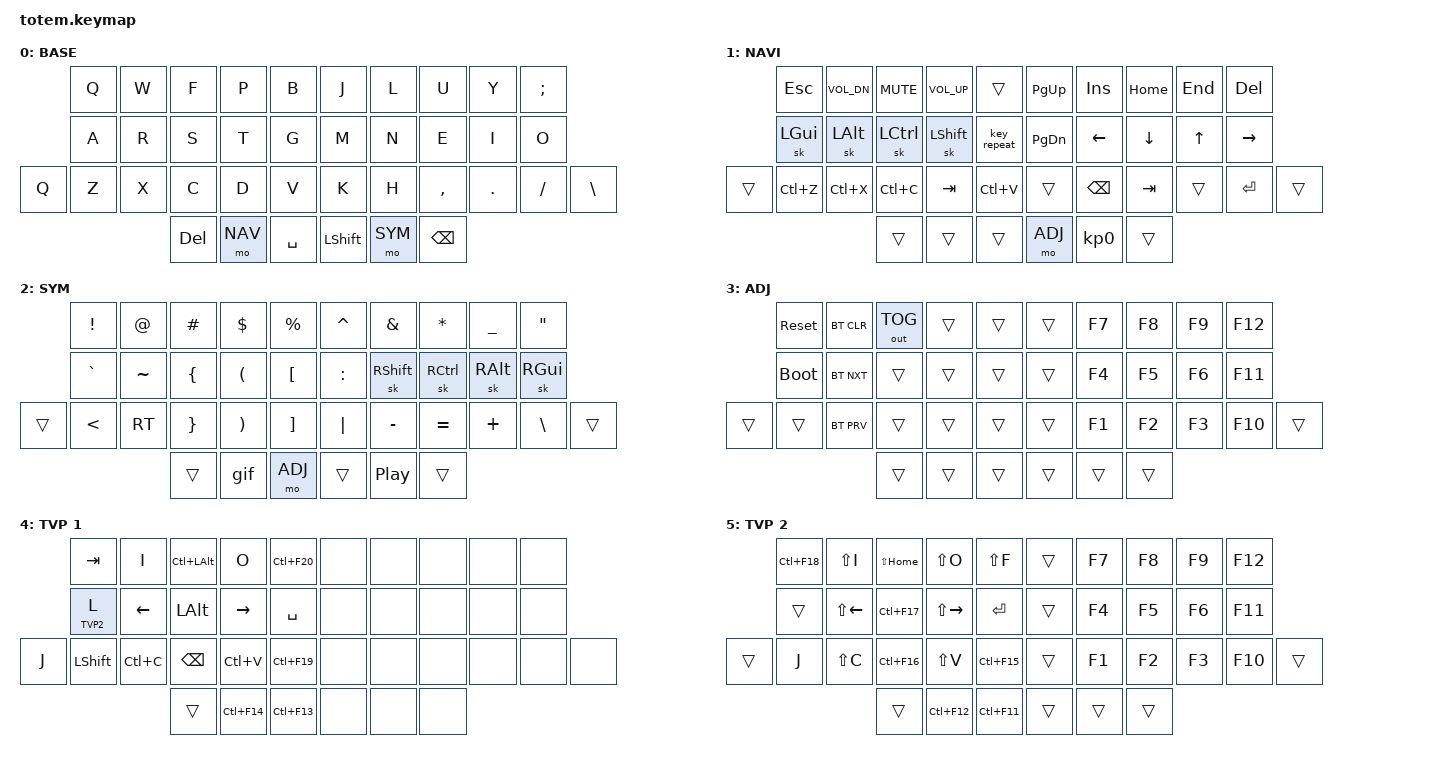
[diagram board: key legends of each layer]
//
//                                                        ▀▀▀▀▀     ▀▀▀▀▀          ▀▀█▀▀
//                                                        ▄▀▀▀▄  ▄  ▄▀▀▀▄  ▄  ▄▀▀▀▄  █  ▄▀▀▀▄
//                                                        █   █  █  █   █  █  █   █  █  █   █
//                                                         ▀▀▀   █   ▀▀▀   █   ▀▀▀   ▀   ▀▀▀
//                                                               █      ▄▄▄█▄▄▄    █   █  
//                                                               ▀      █  █  █     █▄█
//                                                             ▀▀▀▀▀    █  █  █      ▀
//                                                                      ▀  ▀  ▀
//
// ▄▄▄▄▄▄▄▄▄▄▄▄▄▄▄▄▄▄▄▄▄▄▄▄▄▄▄▄▄▄▄▄▄▄▄▄▄▄▄▄▄▄▄▄▄▄▄▄▄▄▄▄▄▄▄▄▄▄▄▄▄▄▄▄▄▄▄▄▄▄▄▄▄▄▄▄▄▄▄▄▄▄▄▄▄▄▄▄▄▄▄▄▄▄▄▄▄▄▄▄▄▄▄▄▄▄▄▄▄▄▄▄▄▄▄▄▄▄▄▄▄▄▄▄▄▄▄▄▄▄▄▄▄▄▄▄▄▄▄▄▄▄▄▄▄▄▄▄▄
       

#include <behaviors.dtsi>
#include <dt-bindings/zmk/keys.h>
#include <dt-bindings/zmk/bt.h>
#include <dt-bindings/zmk/outputs.h>

#define BASE 0
#define NAV  1
#define SYM  2
#define ADJ  3
#define TVP1 4
#define TVP2 5

&mt {
  global-quick-tap;
  flavor = "tap-preferred";
  tapping-term-ms = <190>;
};

&sk {
  quick-release;
};

/ {
     combos {
            compatible = "zmk,combos";
            combo_esc {
                timeout-ms = <50>;
                key-positions = <0 1>;
                bindings = <&kp ESC>;
            };
            combo_tvp {
                timeout-ms = <100>;
                key-positions = <11 12 13>;
                bindings = <&tog TVP1>;
            };
    };

    macros {
        gif: gif {
            label = "giphy";
            compatible = "zmk,behavior-macro";
            #binding-cells = <0>;
            bindings
                = <&macro_press &kp LSHFT>
                , <&macro_tap &kp N2>
                , <&macro_release &kp LSHFT>
                , <&macro_tap &kp G &kp I &kp F>
                ;
        };
    };

        keymap {
                compatible = "zmk,keymap";
// ▄▄▄▄▄▄▄▄▄▄▄▄▄▄▄▄▄▄▄▄▄▄▄▄▄▄▄▄▄▄▄▄▄▄▄▄▄▄▄▄▄▄▄▄▄▄▄▄▄▄▄▄▄▄▄▄▄▄▄▄▄▄▄▄▄▄▄▄▄▄▄▄▄▄▄▄▄▄▄▄▄▄▄▄▄▄▄▄▄▄▄▄▄▄▄▄▄▄▄▄▄▄▄▄▄▄▄▄▄▄▄▄▄▄▄▄▄▄▄▄▄▄▄▄▄▄▄▄▄▄▄▄▄▄▄▄▄▄▄▄▄▄▄▄▄▄▄▄▄

                base_layer {
// ┏━━━━━━━━━━━━━━━━━━━━━━━━━━━━━━━━━━━━━━━┓
label= "BASE"                              ;
// ┗━━━━━━━━━━━━━━━━━━━━━━━━━━━━━━━━━━━━━━━┛
//             ┏━━━━━━━━━━━┳━━━━━━━━━━━┳━━━━━━━━━━━┳━━━━━━━━━━━┳━━━━━━━━━━━┓   ┏━━━━━━━━━━━┳━━━━━━━━━━━┳━━━━━━━━━━━┳━━━━━━━━━━━┳━━━━━━━━━━━┓
//             ┃     Q     ┃     W     ┃     F     ┃     P     ┃     B     ┃   ┃     J     ┃     L     ┃     U     ┃     Y     ┃     ;     ┃
//             ┣━━━━━━━━━━━╋━━━━━━━━━━━╋━━━━━━━━━━━╋━━━━━━━━━━━╋━━━━━━━━━━━┫   ┣━━━━━━━━━━━╋━━━━━━━━━━━╋━━━━━━━━━━━╋━━━━━━━━━━━╋━━━━━━━━━━━┫
//             ┃     A     ┃     R     ┃     S     ┃     T     ┃     G     ┃   ┃     M     ┃     N     ┃     E     ┃     I     ┃     O     ┃
// ┏━━━━━━━━━━━╋━━━━━━━━━━━╋━━━━━━━━━━━╋━━━━━━━━━━━╋━━━━━━━━━━━╋━━━━━━━━━━━┫   ┣━━━━━━━━━━━╋━━━━━━━━━━━╋━━━━━━━━━━━╋━━━━━━━━━━━╋━━━━━━━━━━━╋━━━━━━━━━━━┓
// ┃     Q     ┃     Z     ┃     X     ┃     C     ┃     D     ┃     V     ┃   ┃     K     ┃     H     ┃     ,     ┃     .     ┃     /     ┃     \     ┃
// ┗━━━━━━━━━━━┻━━━━━━━━━━━┻━━━━━━━━━━━╋━━━━━━━━━━━╋━━━━━━━━━━━╋━━━━━━━━━━━┫   ┣━━━━━━━━━━━╋━━━━━━━━━━━╋━━━━━━━━━━━╋━━━━━━━━━━━┻━━━━━━━━━━━┻━━━━━━━━━━━┛
//                                     ┃    DEL    ┃    TAB    ┃    SPC    ┃   ┃   ENTER   ┃           ┃   BSPC    ┃
//                                     ┗━━━━━━━━━━━┻━━━━━━━━━━━┻━━━━━━━━━━━┛   ┗━━━━━━━━━━━┻━━━━━━━━━━━┻━━━━━━━━━━━┛
 bindings = <
// ╷           ╷           ╷           ╷           ╷           ╷           ╷   ╷           ╷           ╷           ╷           ╷           ╷           ╷

                &kp Q       &kp W       &kp F       &kp P       &kp B           &kp J       &kp L       &kp U       &kp Y       &kp SEMI
                &kp A       &kp R       &kp S       &kp T       &kp G           &kp M       &kp N       &kp E       &kp I       &kp O
    &kp Q       &kp Z       &kp X       &kp C       &kp D       &kp V           &kp K       &kp H       &kp COMMA   &kp DOT     &kp FSLH    &kp BSLH
                                        &kp DEL     &mo NAV     &kp SPACE       &kp LSHFT   &mo SYM     &kp BSPC
                        >;
                };

// ▄▄▄▄▄▄▄▄▄▄▄▄▄▄▄▄▄▄▄▄▄▄▄▄▄▄▄▄▄▄▄▄▄▄▄▄▄▄▄▄▄▄▄▄▄▄▄▄▄▄▄▄▄▄▄▄▄▄▄▄▄▄▄▄▄▄▄▄▄▄▄▄▄▄▄▄▄▄▄▄▄▄▄▄▄▄▄▄▄▄▄▄▄▄▄▄▄▄▄▄▄▄▄▄▄▄▄▄▄▄▄▄▄▄▄▄▄▄▄▄▄▄▄▄▄▄▄▄▄▄▄▄▄▄▄▄▄▄▄▄▄▄▄▄▄▄▄▄▄


                nav_layer {
// ┏━━━━━━━━━━━━━━━━━━━━━━━━━━━━━━━━━━━━━━━┓
label= "NAVI"                              ;
// ┗━━━━━━━━━━━━━━━━━━━━━━━━━━━━━━━━━━━━━━━┛
//             ┏━━━━━━━━━━━┳━━━━━━━━━━━┳━━━━━━━━━━━┳━━━━━━━━━━━┳━━━━━━━━━━━┓   ┏━━━━━━━━━━━┳━━━━━━━━━━━┳━━━━━━━━━━━┳━━━━━━━━━━━┳━━━━━━━━━━━┓
//             ┃   ESC     ┃ C_VOL_DN  ┃  C_MUTE   ┃ C_VOL_UP  ┃           ┃   ┃   PG_UP   ┃    INS    ┃   HOME    ┃    END    ┃    DEL    ┃
//             ┣━━━━━━━━━━━╋━━━━━━━━━━━╋━━━━━━━━━━━╋━━━━━━━━━━━╋━━━━━━━━━━━┫   ┣━━━━━━━━━━━╋━━━━━━━━━━━╋━━━━━━━━━━━╋━━━━━━━━━━━╋━━━━━━━━━━━┫
//             ┃   LGUI    ┃   LALT    ┃   LCTL    ┃   LSHFT   ┃  REPEAT   ┃   ┃   PG_DN   ┃   LEFT    ┃   DOWN    ┃    UP     ┃  RIGHT    ┃
// ┏━━━━━━━━━━━╋━━━━━━━━━━━╋━━━━━━━━━━━╋━━━━━━━━━━━╋━━━━━━━━━━━╋━━━━━━━━━━━┫   ┣━━━━━━━━━━━╋━━━━━━━━━━━╋━━━━━━━━━━━╋━━━━━━━━━━━╋━━━━━━━━━━━╋━━━━━━━━━━━┓
// ┃           ┃   UNDO    ┃   CUT     ┃   COPY    ┃   TAB     ┃  PASTE    ┃   ┃           ┃   BSPC    ┃   TAB     ┃           ┃    RET    ┃           ┃
// ┗━━━━━━━━━━━┻━━━━━━━━━━━┻━━━━━━━━━━━╋━━━━━━━━━━━╋━━━━━━━━━━━╋━━━━━━━━━━━┫   ┣━━━━━━━━━━━╋━━━━━━━━━━━╋━━━━━━━━━━━╋━━━━━━━━━━━┻━━━━━━━━━━━┻━━━━━━━━━━━┛
//                                     ┃           ┃    TAB    ┃    SPC    ┃   ┃    DEL    ┃     0     ┃           ┃
//                                     ┗━━━━━━━━━━━┻━━━━━━━━━━━┻━━━━━━━━━━━┛   ┗━━━━━━━━━━━┻━━━━━━━━━━━┻━━━━━━━━━━━┛
 bindings = <
// ╷           ╷            ╷            ╷           ╷            ╷          ╷    ╷           ╷           ╷           ╷           ╷           ╷           ╷

                &kp ESC     &kp C_VOL_DN &kp C_MUTE  &kp C_VOL_UP &trans          &kp PG_UP   &kp INS     &kp HOME    &kp END     &kp DEL
                &sk LGUI    &sk LALT     &sk LCTL    &sk LSHFT    &key_repeat     &kp PG_DN   &kp LEFT    &kp DOWN    &kp UP      &kp RIGHT
    &trans      &kp LC(Z)   &kp LC(X)    &kp LC(C)   &kp TAB      &kp LC(V)       &trans      &kp BSPC    &kp TAB     &trans      &kp RET     &trans
                                         &trans      &trans       &trans          &mo ADJ     &kp KP_N0   &trans
                        >;
                };

// ▄▄▄▄▄▄▄▄▄▄▄▄▄▄▄▄▄▄▄▄▄▄▄▄▄▄▄▄▄▄▄▄▄▄▄▄▄▄▄▄▄▄▄▄▄▄▄▄▄▄▄▄▄▄▄▄▄▄▄▄▄▄▄▄▄▄▄▄▄▄▄▄▄▄▄▄▄▄▄▄▄▄▄▄▄▄▄▄▄▄▄▄▄▄▄▄▄▄▄▄▄▄▄▄▄▄▄▄▄▄▄▄▄▄▄▄▄▄▄▄▄▄▄▄▄▄▄▄▄▄▄▄▄▄▄▄▄▄▄▄▄▄▄▄▄▄▄▄▄


                sim_layer {
// ┏━━━━━━━━━━━━━━━━━━━━━━━━━━━━━━━━━━━━━━━┓
label= "SYM"                               ;
// ┗━━━━━━━━━━━━━━━━━━━━━━━━━━━━━━━━━━━━━━━┛
//             ┏━━━━━━━━━━━┳━━━━━━━━━━━┳━━━━━━━━━━━┳━━━━━━━━━━━┳━━━━━━━━━━━┓   ┏━━━━━━━━━━━┳━━━━━━━━━━━┳━━━━━━━━━━━┳━━━━━━━━━━━┳━━━━━━━━━━━┓
//             ┃     !     ┃     @     ┃     #     ┃     $     ┃     %     ┃   ┃     ˆ     ┃     &     ┃     Ü     ┃     '     ┃     "     ┃
//             ┣━━━━━━━━━━━╋━━━━━━━━━━━╋━━━━━━━━━━━╋━━━━━━━━━━━╋━━━━━━━━━━━┫   ┣━━━━━━━━━━━╋━━━━━━━━━━━╋━━━━━━━━━━━╋━━━━━━━━━━━╋━━━━━━━━━━━┫
//             ┃     Ä     ┃           ┃    SZ     ┃           ┃           ┃   ┃   MUTE    ┃   YEN     ┃   EURO    ┃  POUND    ┃     Ö     ┃
// ┏━━━━━━━━━━━╋━━━━━━━━━━━╋━━━━━━━━━━━╋━━━━━━━━━━━╋━━━━━━━━━━━╋━━━━━━━━━━━┫   ┣━━━━━━━━━━━╋━━━━━━━━━━━╋━━━━━━━━━━━╋━━━━━━━━━━━╋━━━━━━━━━━━╋━━━━━━━━━━━┓
// ┃           ┃  EMAIL1   ┃  EMAIL2   ┃           ┃           ┃           ┃   ┃   VOL-    ┃   VOL+    ┃   LAST    ┃   NEXT    ┃     \     ┃           ┃
// ┗━━━━━━━━━━━┻━━━━━━━━━━━┻━━━━━━━━━━━╋━━━━━━━━━━━╋━━━━━━━━━━━╋━━━━━━━━━━━┫   ┣━━━━━━━━━━━╋━━━━━━━━━━━╋━━━━━━━━━━━╋━━━━━━━━━━━┻━━━━━━━━━━━┻━━━━━━━━━━━┛
//                                     ┃           ┃    GIF    ┃    ADJ    ┃   ┃           ┃           ┃           ┃
//                                     ┗━━━━━━━━━━━┻━━━━━━━━━━━┻━━━━━━━━━━━┛   ┗━━━━━━━━━━━┻━━━━━━━━━━━┻━━━━━━━━━━━┛
 bindings = <
// ╷           ╷           ╷           ╷           ╷           ╷           ╷   ╷           ╷           ╷           ╷           ╷           ╷           ╷

                &kp EXCL    &kp AT      &kp HASH    &kp DLLR    &kp PRCNT       &kp CARET   &kp AMPS    &kp ASTRK   &kp UNDER   &kp DQT
                &kp GRAVE   &kp TILDE   &kp LBRC    &kp LPAR    &kp LBKT        &kp COLON   &sk RSHFT   &sk RCTL    &sk RALT    &sk RGUI
    &trans      &kp LT      &kp RT      &kp RBRC    &kp RPAR    &kp RBKT        &kp PIPE    &kp MINUS   &kp EQUAL   &kp PLUS    &kp BSLH   &trans
                                        &trans      &gif        &mo ADJ         &trans      &kp C_PP    &trans      
                        >;
                };

// ▄▄▄▄▄▄▄▄▄▄▄▄▄▄▄▄▄▄▄▄▄▄▄▄▄▄▄▄▄▄▄▄▄▄▄▄▄▄▄▄▄▄▄▄▄▄▄▄▄▄▄▄▄▄▄▄▄▄▄▄▄▄▄▄▄▄▄▄▄▄▄▄▄▄▄▄▄▄▄▄▄▄▄▄▄▄▄▄▄▄▄▄▄▄▄▄▄▄▄▄▄▄▄▄▄▄▄▄▄▄▄▄▄▄▄▄▄▄▄▄▄▄▄▄▄▄▄▄▄▄▄▄▄▄▄▄▄▄▄▄▄▄▄▄▄▄▄▄▄


                adjust_layer {
// ┏━━━━━━━━━━━━━━━━━━━━━━━━━━━━━━━━━━━━━━━┓
label= "ADJ"                               ;
// ┗━━━━━━━━━━━━━━━━━━━━━━━━━━━━━━━━━━━━━━━┛
//             ┏━━━━━━━━━━━┳━━━━━━━━━━━┳━━━━━━━━━━━┳━━━━━━━━━━━┳━━━━━━━━━━━┓   ┏━━━━━━━━━━━┳━━━━━━━━━━━┳━━━━━━━━━━━┳━━━━━━━━━━━┳━━━━━━━━━━━┓
//             ┃   RESET   ┃ BT CLEAR  ┃  OUT TOG  ┃           ┃           ┃   ┃           ┃    F7     ┃    F8     ┃    F9     ┃    F12    ┃
//             ┣━━━━━━━━━━━╋━━━━━━━━━━━╋━━━━━━━━━━━╋━━━━━━━━━━━╋━━━━━━━━━━━┫   ┣━━━━━━━━━━━╋━━━━━━━━━━━╋━━━━━━━━━━━╋━━━━━━━━━━━╋━━━━━━━━━━━┫
//             ┃ BOOTLOAD  ┃ BT NEXT   ┃           ┃           ┃           ┃   ┃           ┃    F4     ┃    F5     ┃    F6     ┃    F11    ┃
// ┏━━━━━━━━━━━╋━━━━━━━━━━━╋━━━━━━━━━━━╋━━━━━━━━━━━╋━━━━━━━━━━━╋━━━━━━━━━━━┫   ┣━━━━━━━━━━━╋━━━━━━━━━━━╋━━━━━━━━━━━╋━━━━━━━━━━━╋━━━━━━━━━━━╋━━━━━━━━━━━┓
// ┃           ┃           ┃ BT PREV   ┃           ┃           ┃           ┃   ┃           ┃    F1     ┃    F2     ┃    F3     ┃    F10    ┃           ┃
// ┗━━━━━━━━━━━┻━━━━━━━━━━━┻━━━━━━━━━━━╋━━━━━━━━━━━╋━━━━━━━━━━━╋━━━━━━━━━━━┫   ┣━━━━━━━━━━━╋━━━━━━━━━━━╋━━━━━━━━━━━╋━━━━━━━━━━━┻━━━━━━━━━━━┻━━━━━━━━━━━┛
//                                     ┃           ┃           ┃           ┃   ┃           ┃           ┃           ┃
//                                     ┗━━━━━━━━━━━┻━━━━━━━━━━━┻━━━━━━━━━━━┛   ┗━━━━━━━━━━━┻━━━━━━━━━━━┻━━━━━━━━━━━┛
 bindings = <
// ╷           ╷           ╷           ╷           ╷           ╷           ╷   ╷           ╷           ╷           ╷           ╷           ╷           ╷

                &sys_reset  &bt BT_CLR &out OUT_TOG &trans      &trans          &trans      &kp F7      &kp F8      &kp F9      &kp F12
                &bootloader &bt BT_NXT  &trans      &trans      &trans          &trans      &kp F4      &kp F5      &kp F6      &kp F11  
    &trans      &trans      &bt BT_PRV  &trans      &trans      &trans          &trans      &kp F1      &kp F2      &kp F3      &kp F10     &trans         
                                        &trans      &trans      &trans          &trans      &trans      &trans      
                        >;
                };

// ▄▄▄▄▄▄▄▄▄▄▄▄▄▄▄▄▄▄▄▄▄▄▄▄▄▄▄▄▄▄▄▄▄▄▄▄▄▄▄▄▄▄▄▄▄▄▄▄▄▄▄▄▄▄▄▄▄▄▄▄▄▄▄▄▄▄▄▄▄▄▄▄▄▄▄▄▄▄▄▄▄▄▄▄▄▄▄▄▄▄▄▄▄▄▄▄▄▄▄▄▄▄▄▄▄▄▄▄▄▄▄▄▄▄▄▄▄▄▄▄▄▄▄▄▄▄▄▄▄▄▄▄▄▄▄▄▄▄▄▄▄▄▄▄▄▄▄▄▄


                tvp1_layer {
// ┏━━━━━━━━━━━━━━━━━━━━━━━━━━━━━━━━━━━━━━━┓
label= "TVP 1"                             ;
// ┗━━━━━━━━━━━━━━━━━━━━━━━━━━━━━━━━━━━━━━━┛
//             ┏━━━━━━━━━━━┳━━━━━━━━━━━┳━━━━━━━━━━━┳━━━━━━━━━━━┳━━━━━━━━━━━┓   ┏━━━━━━━━━━━┳━━━━━━━━━━━┳━━━━━━━━━━━┳━━━━━━━━━━━┳━━━━━━━━━━━┓
//             ┃ NEXT FILE ┃ MARK IN   ┃ ROTATE    ┃ MARK OUT  ┃ SHOW SNAP ┃   ┃           ┃           ┃           ┃           ┃           ┃
//             ┣━━━━━━━━━━━╋━━━━━━━━━━━╋━━━━━━━━━━━╋━━━━━━━━━━━╋━━━━━━━━━━━┫   ┣━━━━━━━━━━━╋━━━━━━━━━━━╋━━━━━━━━━━━╋━━━━━━━━━━━╋━━━━━━━━━━━┫
//             ┃ TVP II    ┃ LEFT      ┃ PAN       ┃ RIGHT     ┃ PLAY/FLIP ┃   ┃           ┃           ┃           ┃           ┃           ┃
// ┏━━━━━━━━━━━╋━━━━━━━━━━━╋━━━━━━━━━━━╋━━━━━━━━━━━╋━━━━━━━━━━━╋━━━━━━━━━━━┫   ┣━━━━━━━━━━━╋━━━━━━━━━━━╋━━━━━━━━━━━╋━━━━━━━━━━━╋━━━━━━━━━━━╋━━━━━━━━━━━┓
// ┃ FULLSCR   ┃ SHIFT     ┃ COPY      ┃ DELETE    ┃ PASTE     ┃ IMG MARK  ┃   ┃           ┃           ┃           ┃           ┃           ┃           ┃
// ┗━━━━━━━━━━━┻━━━━━━━━━━━┻━━━━━━━━━━━╋━━━━━━━━━━━╋━━━━━━━━━━━╋━━━━━━━━━━━┫   ┣━━━━━━━━━━━╋━━━━━━━━━━━╋━━━━━━━━━━━╋━━━━━━━━━━━┻━━━━━━━━━━━┻━━━━━━━━━━━┛
//                                     ┃           ┃ UNDO/SAVE ┃  SEL/MOV  ┃   ┃           ┃           ┃           ┃
//                                     ┗━━━━━━━━━━━┻━━━━━━━━━━━┻━━━━━━━━━━━┛   ┗━━━━━━━━━━━┻━━━━━━━━━━━┻━━━━━━━━━━━┛
 bindings = <
// ╷           ╷           ╷           ╷           ╷           ╷           ╷   ╷           ╷           ╷           ╷           ╷           ╷           ╷

                &kp TAB     &kp I       &kp LC(LALT) &kp O      &kp LC(F20)     &none       &none       &none       &none       &none
                &lt TVP2 L  &kp LEFT    &kp LALT    &kp RIGHT   &kp SPACE       &none       &none       &none       &none       &none
    &kp J       &kp LSHFT   &kp LC(C)   &kp BSPC    &kp LC(V)   &kp LC(F19)     &none       &none       &none       &none       &none       &none        
                                        &trans      &kp LC(F14) &kp LC(F13)     &none       &none       &none    
                        >;
                };

// ▄▄▄▄▄▄▄▄▄▄▄▄▄▄▄▄▄▄▄▄▄▄▄▄▄▄▄▄▄▄▄▄▄▄▄▄▄▄▄▄▄▄▄▄▄▄▄▄▄▄▄▄▄▄▄▄▄▄▄▄▄▄▄▄▄▄▄▄▄▄▄▄▄▄▄▄▄▄▄▄▄▄▄▄▄▄▄▄▄▄▄▄▄▄▄▄▄▄▄▄▄▄▄▄▄▄▄▄▄▄▄▄▄▄▄▄▄▄▄▄▄▄▄▄▄▄▄▄▄▄▄▄▄▄▄▄▄▄▄▄▄▄▄▄▄▄▄▄▄


                tvp2_layer {
// ┏━━━━━━━━━━━━━━━━━━━━━━━━━━━━━━━━━━━━━━━┓
label= "TVP 2"                             ;
// ┗━━━━━━━━━━━━━━━━━━━━━━━━━━━━━━━━━━━━━━━┛
//             ┏━━━━━━━━━━━┳━━━━━━━━━━━┳━━━━━━━━━━━┳━━━━━━━━━━━┳━━━━━━━━━━━┓   ┏━━━━━━━━━━━┳━━━━━━━━━━━┳━━━━━━━━━━━┳━━━━━━━━━━━┳━━━━━━━━━━━┓
//             ┃ SOLO      ┃ TOGGLE IN ┃ RESET ROT ┃ TOGGLE OUT┃ TAKE SNAP ┃   ┃           ┃           ┃           ┃           ┃           ┃
//             ┣━━━━━━━━━━━╋━━━━━━━━━━━╋━━━━━━━━━━━╋━━━━━━━━━━━╋━━━━━━━━━━━┫   ┣━━━━━━━━━━━╋━━━━━━━━━━━╋━━━━━━━━━━━╋━━━━━━━━━━━╋━━━━━━━━━━━┫
//             ┃ ---       ┃ LAST KEY  ┃ NEW KEY   ┃ NEXT KEY  ┃ ENTER     ┃   ┃           ┃           ┃           ┃           ┃           ┃
// ┏━━━━━━━━━━━╋━━━━━━━━━━━╋━━━━━━━━━━━╋━━━━━━━━━━━╋━━━━━━━━━━━╋━━━━━━━━━━━┫   ┣━━━━━━━━━━━╋━━━━━━━━━━━╋━━━━━━━━━━━╋━━━━━━━━━━━╋━━━━━━━━━━━╋━━━━━━━━━━━┓
// ┃           ┃ FULLSCR   ┃ CPY2BRUSH ┃ DEL HEAD  ┃ PSTinPLACE┃ BOOK MARK ┃   ┃           ┃           ┃           ┃           ┃           ┃           ┃
// ┗━━━━━━━━━━━┻━━━━━━━━━━━┻━━━━━━━━━━━╋━━━━━━━━━━━╋━━━━━━━━━━━╋━━━━━━━━━━━┫   ┣━━━━━━━━━━━╋━━━━━━━━━━━╋━━━━━━━━━━━╋━━━━━━━━━━━┻━━━━━━━━━━━┻━━━━━━━━━━━┛
//                                     ┃           ┃ REDO/SAV1 ┃TRANS/WARP ┃   ┃           ┃           ┃           ┃
//                                     ┗━━━━━━━━━━━┻━━━━━━━━━━━┻━━━━━━━━━━━┛   ┗━━━━━━━━━━━┻━━━━━━━━━━━┻━━━━━━━━━━━┛
 bindings = <
// ╷           ╷           ╷           ╷           ╷           ╷           ╷   ╷           ╷           ╷           ╷           ╷           ╷           ╷

                &kp LC(F18) &kp LS(I)  &kp LS(HOME) &kp LS(O)   &kp LS(F)       &trans      &kp F7      &kp F8      &kp F9      &kp F12
                &trans      &kp LS(LEFT) &kp LC(F17) &kp LS(RIGHT) &kp RET      &trans      &kp F4      &kp F5      &kp F6      &kp F11  
    &trans      &kp J       &kp LS(C)   &kp LC(F16) &kp LS(V)   &kp LC(F15)     &trans      &kp F1      &kp F2      &kp F3      &kp F10     &trans         
                                        &trans      &kp LC(F12) &kp LC(F11)     &trans      &trans      &trans      
                        >;
                };
        };
};
